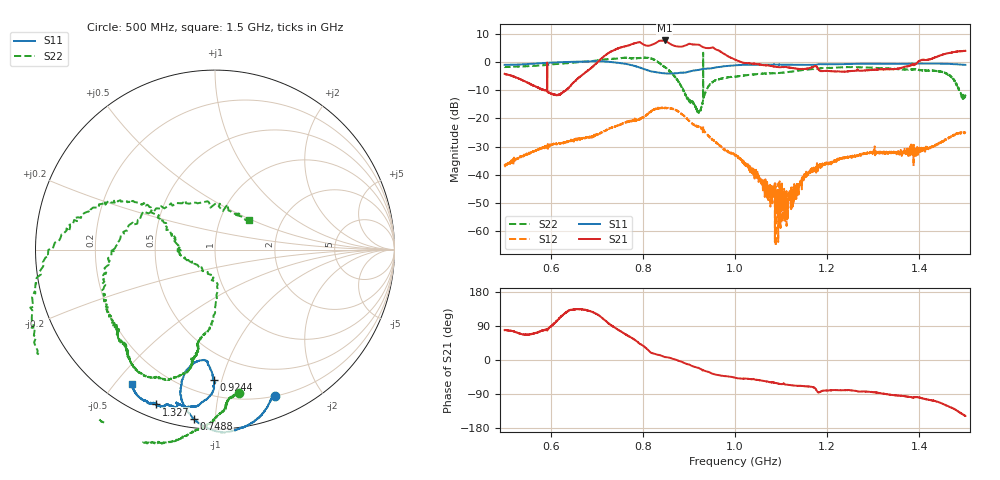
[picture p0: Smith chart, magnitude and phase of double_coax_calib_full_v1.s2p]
! Created with skrf (http://scikit-rf.org).
# Hz S RI R 50.0
!freq ReS11 ImS11 ReS21 ImS21 ReS12 ImS12 ReS22 ImS22
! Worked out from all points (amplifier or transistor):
!   3201 points, 500 MHz to 1.5 GHz, reference 50 ohm
!   highest |S21| = 7.5 dB at 847.5 MHz (marker M1)
!   |S21| within 3 dB of that: 743.2 MHz to 956.1 MHz (212.9 MHz wide, 25.1 % of centre)
!   unconditionally stable (mu >= 1): start of sweep to 592.3 MHz; 873.6 MHz to 930.9 MHz; 931 MHz to end of sweep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
!   at 666.6 MHz: K = -0.01, MSG = 11.2 dB, |S12| = -27.2 dB
!   at 1 GHz: K = 4.13, MAG = 7.8 dB, |S12| = -33.1 dB
!   at 1.5 GHz: K = 1.24, MAG = 11.5 dB, |S12| = -25.2 dB
!   S11 on the Smith chart (normalised r, x): 500 MHz: 0.20, -1.47; 748.8 MHz: 0.04, -0.88; 924.4 MHz: 0.31, -0.94; 1.327 GHz: 0.06, -0.69; 1.5 GHz: 0.08, -0.55
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5e8  0.3336 -0.8178  0.1184 0.6005  0.011 0.00976  0.132 -0.7987
6.11875e8  0.2294 -0.9482  -0.0494 0.2507  0.0339 -0.0081  0.0258 -0.9141
6.66875e8  0.14 -0.9957  -0.3934 0.4164  0.0324 -0.0283  -0.0728 -0.9931
7.090625e8  0.0329 -1.016  -0.4505 1.031  0.0321 -0.046  -0.2029 -1.059
7.4875e8  -0.1161 -0.9452  0.3687 1.727  0.017 -0.074  -0.4017 -1.077
7.85e8  -0.1903 -0.8109  1.357 1.671  -0.0284 -0.0872  -0.6581 -0.9432
8.1625e8  -0.1505 -0.6662  1.827 0.6953  -0.0997 -0.0838  -0.9743 -0.6352
8.334375e8  -0.119 -0.6312  2.223 0.5401  -0.1503 -0.017  -0.9772 -0.1185
8.475e8  -0.084 -0.6178  2.36 0.3253  -0.1459 0.0336  -0.7916 0.1417
8.734375e8  -0.0417 -0.6259  1.87 -0.0099  -0.1051 0.0898  -0.4305 0.255
9.015625e8  -0.0218 -0.6739  2.029 -0.4502  -0.039 0.0802  -0.1973 0.00219
9.24375e8  -0.00765 -0.7259  1.794 -0.7674  -0.0177 0.0669  -0.0401 -0.1248
9.4875e8  -0.00512 -0.7651  1.452 -1.015  0.00492 0.0429  -0.0183 -0.4214
1e9  -0.0847 -0.8604  0.747 -0.7946  0.0128 0.018  -0.0945 -0.5355
1.093438e9  -0.1689 -0.8747  0.3716 -0.7116  0.00225 0.00075  -0.1244 -0.6191
1.166875e9  -0.2146 -0.854  0.261 -0.7569  -0.0131 0.00112  -0.2141 -0.7087
1.327188e9  -0.3281 -0.8625  0.00399 -0.7385  0.00302 0.0247  -0.4874 -0.5922
1.333438e9  -0.3289 -0.8613  -0.0118 -0.7367  0.00364 0.0238  -0.4837 -0.5873
1.397188e9  -0.3628 -0.8567  -0.1488 -0.982  0.00847 0.0221  -0.5408 -0.4785
1.460312e9  -0.4365 -0.8107  -0.7184 -1.206  0.0335 0.0275  -0.6069 -0.0882
1.482188e9  -0.4549 -0.7786  -1.062 -1.097  0.0527 0.00907  -0.2903 0.2428
1.5e9  -0.4643 -0.7494  -1.321 -0.8309  0.0522 -0.0181  0.1869 0.1649
